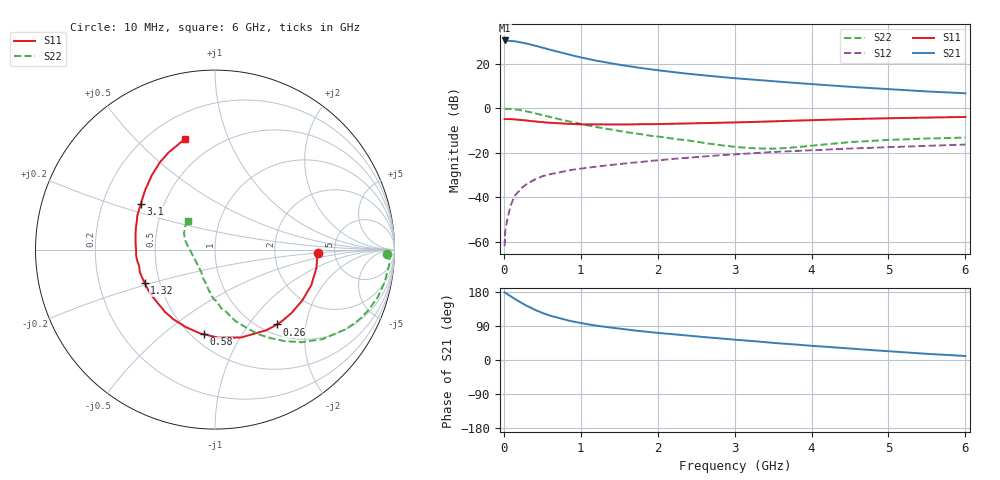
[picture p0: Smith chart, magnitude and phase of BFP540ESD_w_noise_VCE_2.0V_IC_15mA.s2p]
! Infineon Technologies  Discrete & RF Semiconductors
! BFP540ESD
! VCE =  2.0 V,  IC =  15 mA
! Common Emitter S-Parameters:  Nov 2015
# GHz  S  MA  R  50
!  f  S11  S21  S12  S22
! GHz  MAG  ANG  MAG  ANG  MAG  ANG  MAG  ANG
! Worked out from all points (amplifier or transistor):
!   210 points, 10 MHz to 6 GHz, reference 50 ohm
!   highest |S21| = 30.5 dB at 10 MHz (marker M1)
!   |S21| within 3 dB of that: start of sweep to 478.8 MHz
!   unconditionally stable (mu >= 1): 2.367 GHz to end of sweep
!   at 185 MHz: K = 0.14, MSG = 33.7 dB, |S12| = -37.6 dB
!   at 1.52 GHz: K = 0.83, MSG = 22.2 dB, |S12| = -25.0 dB
!   at 6 GHz: K = 1.13, MAG = 9.3 dB, |S12| = -16.3 dB
!   lowest NFmin = 1.03 dB at 900 MHz
!   S11 on the Smith chart (normalised r, x): 10 MHz: 3.66, -0.18; 260 MHz: 1.17, -1.39; 580 MHz: 0.57, -0.70; 1.32 GHz: 0.41, -0.19; 3.1 GHz: 0.37, +0.25; 6 GHz: 0.34, +0.71
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0.01  0.5715 -1.7  33.44 178.2  0.0008 104.1  0.9613 -1.5
0.02  0.5705 -4.6  33.01 177.3  0.0018 90.0  0.9734 -1.9
0.05  0.5745 -10.1  33.08 173.1  0.0034 82.8  0.9734 -5.4
0.1  0.572 -20.3  32.64 166.6  0.0073 83.7  0.9618 -11.1
0.145  0.5629 -29.2  32 160.9  0.0109 80.5  0.9453 -16.0
0.2  0.5538 -39.6  30.88 154.0  0.014 77.2  0.9174 -21.8
0.26  0.5418 -50.3  29.43 147.0  0.0178 72.1  0.8805 -27.7
0.3  0.5326 -57.6  28.45 142.6  0.02 69.9  0.8524 -31.4
0.4  0.5108 -73.4  25.72 132.8  0.025 65.6  0.7804 -39.7
0.5  0.4908 -88.0  23.19 124.2  0.0297 61.9  0.7067 -46.9
0.58  0.4757 -97.7  21.18 118.7  0.0325 59.4  0.6528 -51.5
0.7  0.4615 -110.4  18.7 111.3  0.0355 57.5  0.582 -57.9
0.8  0.4523 -120.7  16.83 105.9  0.0392 54.8  0.5297 -62.9
1.02  0.4361 -137.4  13.69 96.8  0.0446 52.9  0.4382 -71.1
1.32  0.4339 -154.8  10.79 87.4  0.0518 50.9  0.3499 -80.3
1.6  0.4325 -167.9  8.942 80.2  0.0584 50.0  0.2894 -87.8
2.02  0.4429 176.9  7.093 71.2  0.0682 48.0  0.2307 -98.6
2.6  0.4631 160.3  5.487 60.5  0.0829 45.0  0.1669 -115.2
3.1  0.486 148.3  4.601 52.1  0.0946 41.6  0.132 -133.8
4.1  0.5484 128.8  3.4 36.1  0.1164 33.5  0.1503 174.1
5.1  0.603 114.4  2.633 21.7  0.136 25.2  0.1978 150.2
6  0.6397 104.9  2.174 10.4  0.1534 18.7  0.2205 132.8
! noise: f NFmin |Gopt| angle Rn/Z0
0.9  1.03  0.22  -135  0.11
1.8  1.2  0.25  -147  0.1
2.4  1.21  0.25  -139  0.1
3  1.32  0.29  -136  0.11
4  1.4  0.41  -108  0.2
5  1.57  0.5  -90  0.3
6  1.83  0.54  -91  0.52
